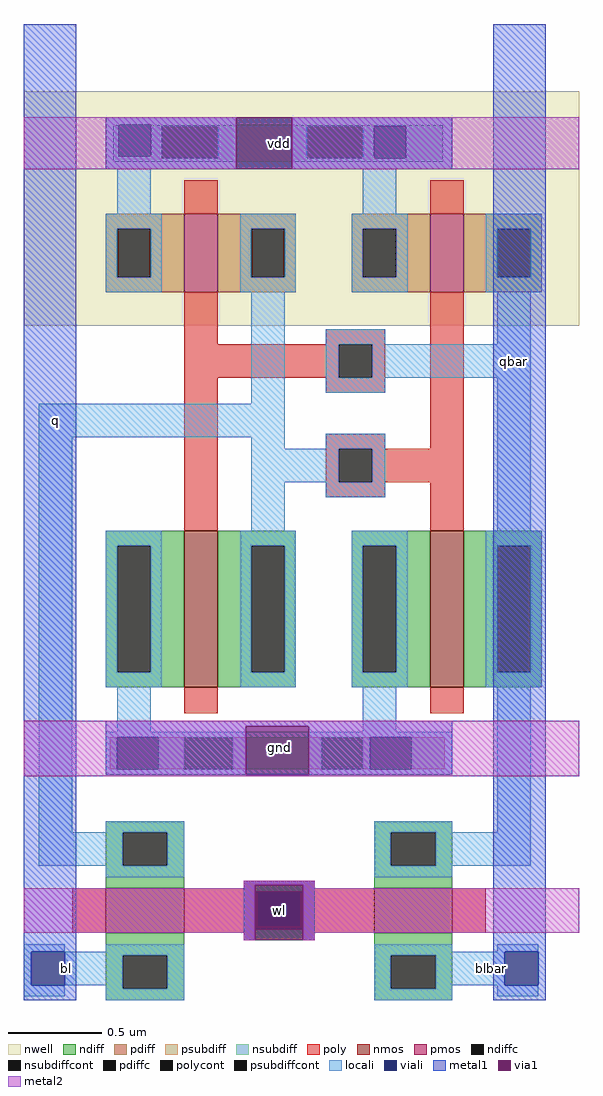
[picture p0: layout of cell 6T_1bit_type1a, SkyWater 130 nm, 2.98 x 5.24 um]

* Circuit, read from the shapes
.subckt 6T_1bit_type1a bl blbar qbar q vdd gnd wl
XM1 q wl bl gnd sky130_fd_pr__nfet_01v8 w=0.42 l=0.24
XM2 q qbar gnd gnd sky130_fd_pr__nfet_01v8 w=0.84 l=0.18
XM3 qbar wl blbar gnd sky130_fd_pr__nfet_01v8 w=0.42 l=0.24
XM4 qbar q gnd gnd sky130_fd_pr__nfet_01v8 w=0.84 l=0.18
XM5 q qbar vdd vdd sky130_fd_pr__pfet_01v8 w=0.42 l=0.18
XM6 qbar q vdd vdd sky130_fd_pr__pfet_01v8 w=0.42 l=0.18
.ends

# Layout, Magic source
magic
tech sky130A
<< nwell >>
rect 652 1416 950 1542
<< nmos >>
rect 738 1222 756 1306
rect 870 1222 888 1306
rect 696 1090 738 1114
rect 840 1090 882 1114
<< pmos >>
rect 738 1434 756 1476
rect 870 1434 888 1476
<< ndiff >>
rect 696 1298 738 1306
rect 696 1230 702 1298
rect 720 1230 738 1298
rect 696 1222 738 1230
rect 756 1298 798 1306
rect 756 1230 774 1298
rect 792 1230 798 1298
rect 756 1222 798 1230
rect 828 1298 870 1306
rect 828 1230 834 1298
rect 852 1230 870 1298
rect 828 1222 870 1230
rect 888 1298 930 1306
rect 888 1230 906 1298
rect 924 1230 930 1298
rect 888 1222 930 1230
rect 696 1144 738 1150
rect 696 1126 705 1144
rect 729 1126 738 1144
rect 696 1114 738 1126
rect 840 1144 882 1150
rect 840 1126 849 1144
rect 873 1126 882 1144
rect 840 1114 882 1126
rect 696 1078 738 1090
rect 696 1060 705 1078
rect 729 1060 738 1078
rect 696 1054 738 1060
rect 840 1078 882 1090
rect 840 1060 849 1078
rect 873 1060 882 1078
rect 840 1054 882 1060
<< pdiff >>
rect 696 1468 738 1476
rect 696 1442 702 1468
rect 720 1442 738 1468
rect 696 1434 738 1442
rect 756 1468 798 1476
rect 756 1442 774 1468
rect 792 1442 798 1468
rect 756 1434 798 1442
rect 828 1468 870 1476
rect 828 1442 834 1468
rect 852 1442 870 1468
rect 828 1434 870 1442
rect 888 1468 930 1476
rect 888 1442 906 1468
rect 924 1442 930 1468
rect 888 1434 930 1442
<< ndiffc >>
rect 702 1230 720 1298
rect 774 1230 792 1298
rect 834 1230 852 1298
rect 906 1230 924 1298
rect 705 1126 729 1144
rect 849 1126 873 1144
rect 705 1060 729 1078
rect 849 1060 873 1078
<< pdiffc >>
rect 702 1442 720 1468
rect 774 1442 792 1468
rect 834 1442 852 1468
rect 906 1442 924 1468
<< psubdiff >>
rect 698 1178 738 1195
rect 764 1178 812 1195
rect 834 1178 878 1195
<< nsubdiff >>
rect 700 1523 877 1524
rect 700 1506 726 1523
rect 756 1506 804 1523
rect 834 1506 877 1523
rect 700 1504 877 1506
<< psubdiffcont >>
rect 738 1178 764 1195
rect 812 1178 834 1195
<< nsubdiffcont >>
rect 726 1506 756 1523
rect 804 1506 834 1523
<< poly >>
rect 738 1476 756 1494
rect 870 1476 888 1494
rect 738 1406 756 1434
rect 814 1406 846 1414
rect 738 1388 821 1406
rect 839 1388 846 1406
rect 738 1306 756 1388
rect 814 1380 846 1388
rect 814 1350 846 1358
rect 870 1350 888 1434
rect 814 1332 821 1350
rect 839 1332 888 1350
rect 814 1324 846 1332
rect 870 1306 888 1332
rect 738 1208 756 1222
rect 870 1208 888 1222
rect 770 1114 808 1118
rect 678 1090 696 1114
rect 738 1112 840 1114
rect 738 1094 778 1112
rect 800 1094 840 1112
rect 738 1090 840 1094
rect 882 1090 900 1114
rect 770 1086 808 1090
<< polycont >>
rect 821 1388 839 1406
rect 821 1332 839 1350
rect 778 1094 800 1112
<< locali >>
rect 696 1524 882 1528
rect 696 1507 703 1524
rect 720 1523 882 1524
rect 720 1507 726 1523
rect 696 1506 726 1507
rect 756 1506 804 1523
rect 834 1506 840 1523
rect 857 1506 882 1523
rect 696 1500 882 1506
rect 702 1476 720 1500
rect 834 1476 852 1500
rect 696 1468 726 1476
rect 696 1442 702 1468
rect 720 1442 726 1468
rect 696 1434 726 1442
rect 768 1468 798 1476
rect 768 1442 774 1468
rect 792 1442 798 1468
rect 768 1434 798 1442
rect 828 1468 858 1476
rect 828 1442 834 1468
rect 852 1442 858 1468
rect 828 1434 858 1442
rect 900 1468 930 1476
rect 900 1442 906 1468
rect 924 1442 930 1468
rect 900 1434 930 1442
rect 774 1374 792 1434
rect 814 1406 846 1414
rect 906 1406 924 1434
rect 814 1388 821 1406
rect 839 1388 924 1406
rect 814 1380 846 1388
rect 660 1356 792 1374
rect 660 1144 678 1356
rect 774 1350 792 1356
rect 814 1350 846 1358
rect 774 1332 821 1350
rect 839 1332 846 1350
rect 774 1306 792 1332
rect 814 1324 846 1332
rect 906 1306 924 1388
rect 696 1298 726 1306
rect 696 1230 702 1298
rect 720 1230 726 1298
rect 696 1222 726 1230
rect 768 1298 798 1306
rect 768 1230 774 1298
rect 792 1230 798 1298
rect 768 1222 798 1230
rect 828 1298 858 1306
rect 828 1230 834 1298
rect 852 1230 858 1298
rect 828 1222 858 1230
rect 900 1298 930 1306
rect 900 1230 906 1298
rect 924 1230 930 1298
rect 900 1222 930 1230
rect 702 1198 720 1222
rect 834 1198 852 1222
rect 696 1195 882 1198
rect 696 1178 702 1195
rect 724 1178 738 1195
rect 764 1178 812 1195
rect 834 1178 838 1195
rect 860 1178 882 1195
rect 696 1175 882 1178
rect 696 1144 738 1150
rect 660 1126 705 1144
rect 729 1126 738 1144
rect 696 1120 738 1126
rect 840 1144 882 1150
rect 906 1144 924 1222
rect 840 1126 849 1144
rect 873 1126 924 1144
rect 840 1120 882 1126
rect 770 1112 808 1118
rect 770 1092 776 1112
rect 802 1092 808 1112
rect 770 1086 808 1092
rect 652 1080 674 1084
rect 696 1080 738 1084
rect 652 1062 656 1080
rect 674 1078 738 1080
rect 674 1062 705 1078
rect 652 1056 674 1062
rect 696 1060 705 1062
rect 729 1060 738 1078
rect 696 1054 738 1060
rect 840 1080 882 1084
rect 906 1080 928 1084
rect 840 1078 910 1080
rect 840 1060 849 1078
rect 873 1062 910 1078
rect 873 1060 882 1062
rect 840 1054 882 1060
rect 906 1056 928 1062
<< viali >>
rect 703 1507 720 1524
rect 840 1506 857 1523
rect 702 1178 724 1195
rect 838 1178 860 1195
rect 776 1094 778 1112
rect 778 1094 800 1112
rect 800 1094 802 1112
rect 776 1092 802 1094
rect 656 1062 674 1080
rect 910 1062 928 1080
<< metal1 >>
rect 652 1080 680 1578
rect 696 1524 766 1528
rect 696 1507 703 1524
rect 720 1507 766 1524
rect 696 1500 766 1507
rect 796 1523 882 1528
rect 796 1506 840 1523
rect 857 1506 882 1523
rect 796 1500 882 1506
rect 696 1201 882 1204
rect 696 1195 771 1201
rect 696 1178 702 1195
rect 724 1178 771 1195
rect 696 1175 771 1178
rect 805 1195 882 1201
rect 805 1178 838 1195
rect 860 1178 882 1195
rect 805 1175 882 1178
rect 770 1116 808 1118
rect 770 1086 776 1116
rect 802 1086 808 1116
rect 652 1062 656 1080
rect 674 1062 680 1080
rect 652 1054 680 1062
rect 904 1080 932 1578
rect 904 1062 910 1080
rect 928 1062 932 1080
rect 904 1054 932 1062
<< via1 >>
rect 766 1500 796 1528
rect 771 1175 805 1201
rect 776 1112 802 1116
rect 776 1092 802 1112
rect 776 1086 802 1092
<< metal2 >>
rect 652 1500 766 1528
rect 796 1500 950 1528
rect 652 1201 950 1204
rect 652 1175 771 1201
rect 805 1175 950 1201
rect 652 1174 950 1175
rect 770 1116 808 1118
rect 770 1114 776 1116
rect 652 1090 776 1114
rect 770 1086 776 1090
rect 802 1114 808 1116
rect 802 1090 950 1114
rect 802 1086 808 1090
<< labels >>
rlabel locali 906 1388 924 1406 1 qbar
port 4 n
rlabel locali 660 1356 678 1374 1 q
port 6 n
rlabel locali 666 1062 684 1080 1 bl
port 2 n
rlabel metal2 696 1175 882 1204 1 gnd
port 9 n
rlabel locali 894 1062 912 1080 1 blbar
port 3 n
rlabel nwell 696 1500 882 1528 1 vdd
port 8 n
rlabel metal2 770 1086 808 1118 1 wl
port 10 n
<< end >>
